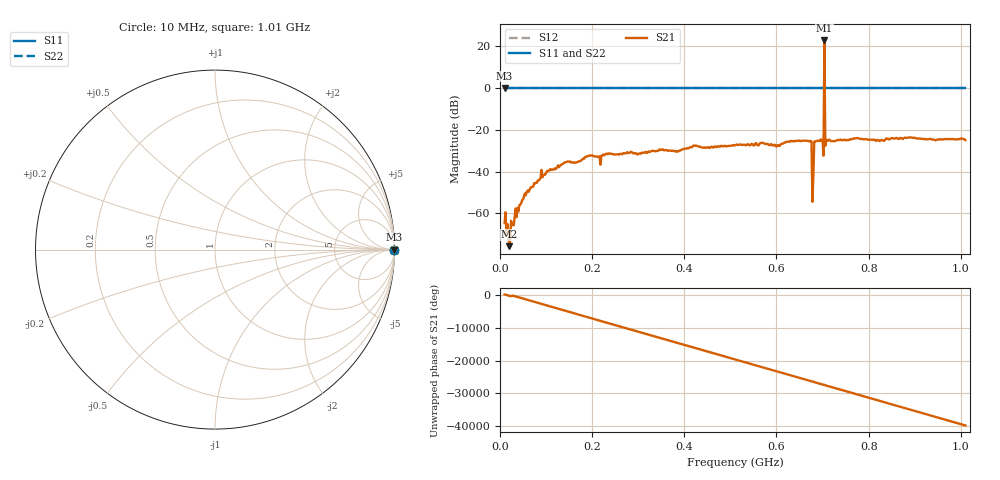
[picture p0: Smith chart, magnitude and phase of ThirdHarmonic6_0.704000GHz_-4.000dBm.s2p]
! 8/15/2025 11:30:59 PM
! C:\ANRITSUVNA\TEMP\TEMP.S2P
! CHANNEL.1
! TR.MEASUREMENT
! RAW.DATA
! RF.CORRECTION.OFF
! AVERAGING.OFF
! IF.BANDWIDTH: 5KHZ
! SWEEPTYPE:  FREQ.SWEEP(Linear)
! Reference Plane Port Info
! PORT:  PORT1  PORT2
! DISTANCE:  0  m  0  m
! TIME:  0  s  0  s
! PHASE.OFFSET:  0  deg.  0  deg.
! LOSS:  0  dB  0  dB
! REF.LOSS:  0  dB  0  dB
! REF.FREQ:  0  Hz  0  Hz
! Power Info
! POWER:  -20  dBm  -20  dBm
! EFF.POWER:  -20  dBm  -20  dBm
! SOURCE.ATTEN:  0  dB  0  dB
! TEST.ATTEN:  0  dB  0  dB
# GHZ S RI R 50.0
! FREQ.GHZ  S11RE  S11IM  S21RE  S21IM  S12RE  S12IM  S22RE  S22IM
!; PortSelection: Port_12
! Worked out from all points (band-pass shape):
!   501 points, 10 MHz to 1.01 GHz, reference 50 ohm
!   highest |S21| = 22.82 dB at 704 MHz (marker M1); lowest = -75.8 dB at 20 MHz (marker M2)
!   |S21| within 3 dB of the highest: 703.8914 MHz to 704.1188 MHz (227.5 kHz wide, 0.0323 % of centre)
!   lowest |S11| = 0.0 dB at 10 MHz (marker M3)
!   |S11| at or under -10 dB: nowhere
!   |S22| runs from 0.0 to 0.0 dB; largest |S21 - S12| = 13
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0.01  1 0  -0.000301 0.000499  1 0  1 0
0.014  1 0  0.00027 -0.000166  1 0  1 0
0.018  1 0  -0.000373 6.68e-05  1 0  1 0
0.02  1 0  0.000134 9.21e-05  1 0  1 0
0.056  1 0  -0.000736 0.0026  1 0  1 0
0.086  1 0  0.00506 -0.00396  1 0  1 0
0.142  1 0  -0.0155 -0.00608  1 0  1 0
0.178  1 0  -0.0186 -0.00445  1 0  1 0
0.344  1 0  0.0308 -0.00717  1 0  1 0
0.51  1 0  -0.0394 0.016  1 0  1 0
0.672  1 0  -0.0279 0.0449  1 0  1 0
0.676  1 0  0.0397 -0.034  1 0  1 0
0.678  1 0  -0.000667 -0.00175  1 0  1 0
0.682  1 0  0.00835 0.0512  1 0  1 0
0.686  1 0  0.00951 -0.0527  1 0  1 0
0.698  1 0  -0.0499 0.0221  1 0  1 0
0.7  1 0  0.014 0.0547  1 0  1 0
0.704  1 0  10.45 -9.07  1 0  1 0
0.708  1 0  -0.0212 0.0533  1 0  1 0
0.71  1 0  0.047 0.0285  1 0  1 0
0.844  1 0  0.0446 0.0379  1 0  1 0
1.01  1 0  -0.055 -0.0136  1 0  1 0
